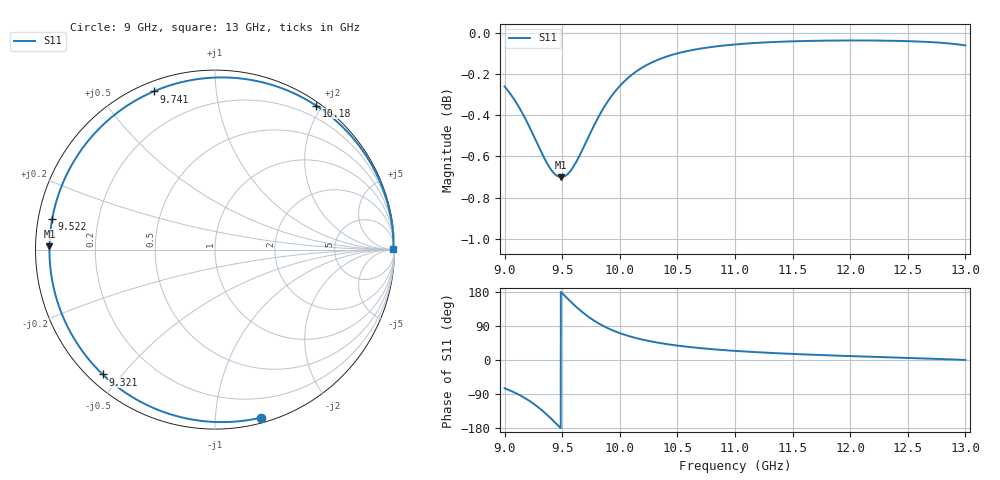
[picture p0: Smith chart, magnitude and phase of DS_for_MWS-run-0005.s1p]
! TOUCHSTONE file generated by CST DESIGN STUDIO
! Date and time: Wed Feb  5 13:30:08 2025
! Project name: C:\Work\MatlabApps\UnitCellOptimizationMatlab\CST\unitcell.cst
! Tree item: Tasks\Sweep1\SPara1\S-Parameters
! Header version: 2024
! Port assignment regex: !\s*Touchstone port\s*([0-9]+)\s*=\s*(CST MWS port|CST DES external port|CST DES block port)\s*(.+)\s* \(\"(.*)\"\)(\s*mode\s*([0-9]+))?.*
! Touchstone port assignment:
! Touchstone port 1 = CST DES external port 1 ("")
# GHz S MA R 50
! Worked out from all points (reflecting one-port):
!   4001 points, 9 GHz to 13 GHz, reference 50 ohm
!   lowest |S11| = -0.7 dB at 9.491 GHz (marker M1), VSWR 24.82, Z = 2.01 + j0.497 ohm
!   phase of S11 starts at -75 deg and turns -285 deg over the sweep
!   S11 on the Smith chart (normalised r, x): 9 GHz: 0.04, -1.31; 9.321 GHz: 0.04, -0.44; 9.522 GHz: 0.04, +0.09; 9.741 GHz: 0.04, +0.68; 10.18 GHz: 0.05, +1.92; 13 GHz: open
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9  0.9705 -74.7
9.084  0.9635 -85.5
9.185  0.9526 -102.0
9.256  0.9436 -116.4
9.321  0.9352 -132.0
9.366  0.93 -144.0
9.413  0.9256 -157.5
9.453  0.9233 -169.5
9.491  0.9225 178.9
9.5  0.9226 176.1
9.522  0.923 169.4
9.575  0.926 153.5
9.635  0.9319 136.6
9.687  0.9383 123.4
9.741  0.9452 111.2
9.793  0.9516 100.8
9.851  0.9581 90.8
9.924  0.965 80.1
10  0.9708 71.0
10.181  0.9803 54.9
10.327  0.9851 45.9
10.5  0.9887 38.0
10.722  0.9916 30.7
11  0.9937 24.0
11.5  0.9954 16.0
12  0.9959 10.3
12.5  0.9955 5.5
13  0.9931 0.1
